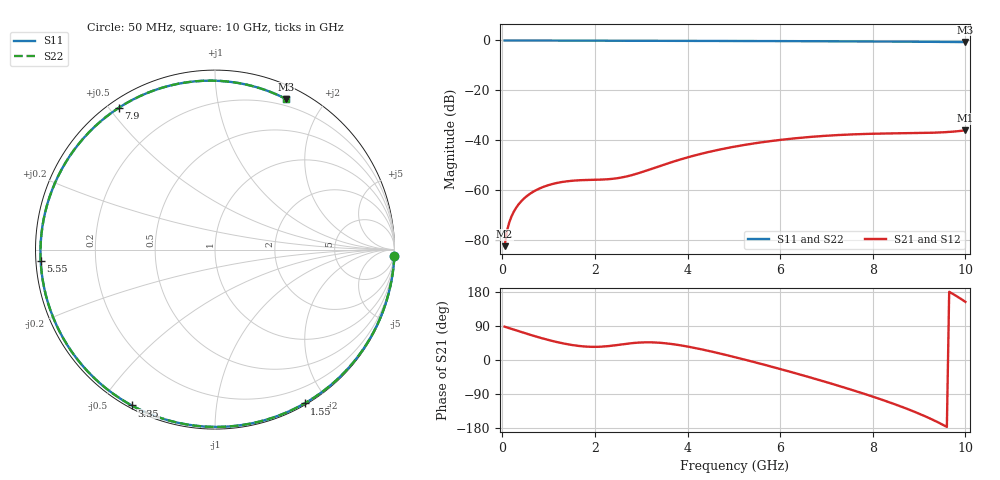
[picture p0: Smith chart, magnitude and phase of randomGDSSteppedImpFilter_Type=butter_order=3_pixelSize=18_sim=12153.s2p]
! freq	dB(S11)	phase(S11)	dB(S12)	phase(S12)
!  dB(S21)	phase(S21)	dB(S22)	phase(S22)
!S-par simulation data
#  GHz  S  DB  R 50
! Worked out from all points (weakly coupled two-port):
!   200 points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, 50 MHz to 10 GHz, reference 50 ohm
!   highest |S21| = -36.05 dB at 10 GHz (marker M1); lowest = -82.5 dB at 50 MHz (marker M2)
!   lowest |S11| = -0.7 dB at 10 GHz (marker M3), VSWR 26.69, Z = 6.51 + j78.5 ohm
!   |S11| at or under -10 dB: nowhere
!   |S22| runs from -0.7 to 0.0 dB; largest |S21 - S12| = 0
!   S11 on the Smith chart (normalised r, x): 50 MHz: 0, -57; 1.55 GHz: 0.02, -1.74; 3.35 GHz: 0.01, -0.60; 5.55 GHz: 0.01, -0.03; 7.9 GHz: 0.03, +0.53; 10 GHz: 0.13, +1.57
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0.05  -0.00 -2.0  -82.50 87.9  -82.50 87.9  -0.00 -2.0
0.15  -0.01 -6.0  -72.98 84.0  -72.98 84.0  -0.01 -6.0
0.25  -0.01 -10.0  -68.61 80.0  -68.61 80.0  -0.01 -10.0
0.35  -0.02 -14.0  -65.78 76.1  -65.78 76.1  -0.02 -14.0
0.5  -0.03 -19.9  -62.88 70.4  -62.88 70.4  -0.03 -19.9
0.7  -0.04 -27.8  -60.33 62.9  -60.33 62.9  -0.04 -27.8
0.95  -0.05 -37.5  -58.30 54.4  -58.30 54.4  -0.05 -37.5
1.55  -0.07 -59.8  -56.20 38.7  -56.20 38.7  -0.07 -59.8
1.75  -0.08 -66.9  -56.00 35.9  -56.00 35.9  -0.08 -67.0
2.5  -0.11 -92.2  -55.20 39.8  -55.20 39.8  -0.11 -92.2
3.35  -0.14 -118.1  -50.70 45.9  -50.70 45.9  -0.14 -118.2
3.4  -0.14 -119.5  -50.39 45.5  -50.39 45.5  -0.14 -119.6
4.25  -0.17 -143.0  -45.66 29.5  -45.66 29.5  -0.17 -143.1
5.05  -0.21 -163.8  -42.47 6.7  -42.47 6.7  -0.21 -163.8
5.55  -0.24 -176.3  -40.98 -9.0  -40.98 -9.0  -0.24 -176.4
6.1  -0.27 170.0  -39.68 -27.1  -39.68 -27.1  -0.27 169.9
6.7  -0.31 155.0  -38.62 -47.8  -38.62 -47.8  -0.31 154.9
7.3  -0.35 139.8  -37.89 -69.5  -37.89 -69.5  -0.35 139.7
7.9  -0.40 124.1  -37.46 -92.6  -37.46 -92.6  -0.40 124.0
8.35  -0.44 112.0  -37.29 -111.3  -37.29 -111.3  -0.44 111.9
9.2  -0.54 88.2  -37.06 -152.3  -37.06 -152.3  -0.54 88.1
10  -0.65 64.8  -36.05 153.5  -36.05 153.5  -0.65 64.6
